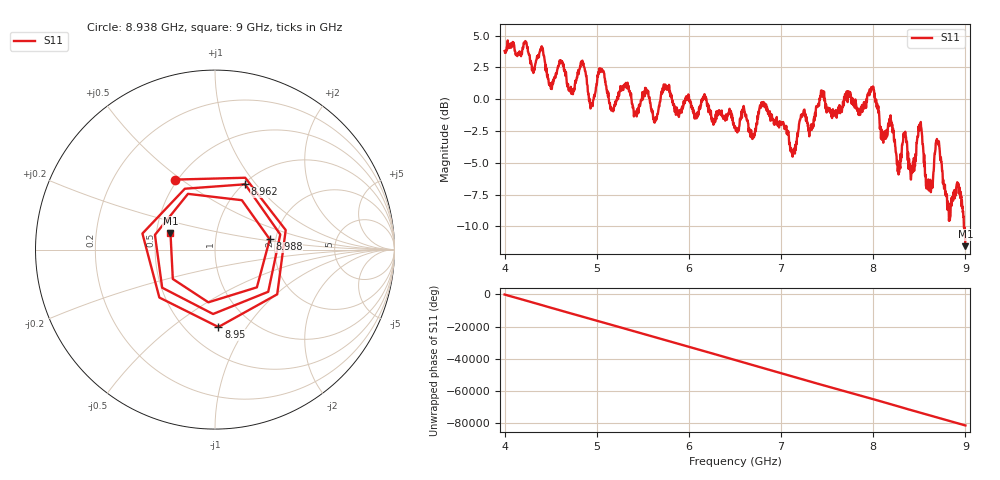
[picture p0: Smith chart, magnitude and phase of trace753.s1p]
! Created with skrf 1.8.0 (http://scikit-rf.org).
# Hz S RI R 50.0
!freq ReS11 ImS11
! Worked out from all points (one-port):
!   1601 points, 4 GHz to 9 GHz, reference 50 ohm
!   lowest |S11| = -11.6 dB at 9 GHz (marker M1), VSWR 1.72, Z = 29.7 + j5.84 ohm
!   |S11| at or under -10 dB: 8.983718 GHz to end of sweep
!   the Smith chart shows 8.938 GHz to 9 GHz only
!   S11 on the Smith chart (normalised r, x): 8.938 GHz: 0.49, +0.47; 8.95 GHz: 0.71, -0.75; 8.962 GHz: 1.02, +0.88; 8.988 GHz: 1.86, +0.24; 9 GHz: 0.59, +0.12
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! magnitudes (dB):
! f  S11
! 4 GHz  3.8
! 4.503 GHz  0.8
! 4.625 GHz  3.0
! 4.725 GHz  0.4
! 4.85 GHz  2.7
! 4.941 GHz  -0.5
! 5.044 GHz  2.1
! 5.159 GHz  -0.9
! 5.25 GHz  0.6
! 5.875 GHz  -0.9
! 6.5 GHz  -2.1
! 6.812 GHz  -0.4
! 7.125 GHz  -4.5
! 7.441 GHz  0.3
! 7.75 GHz  0.5
! 7.991 GHz  0.8
! 8.269 GHz  -5.4
! 8.375 GHz  -4.8
! 8.428 GHz  -5.7
! 8.506 GHz  -2.2
! 8.591 GHz  -6.9
! 8.697 GHz  -3.3
! 8.812 GHz  -8.2
! 8.938 GHz  -7.0
! 8.95 GHz  -7.3
! 8.962 GHz  -7.9
! 8.988 GHz  -10.2
! 9 GHz  -11.6
